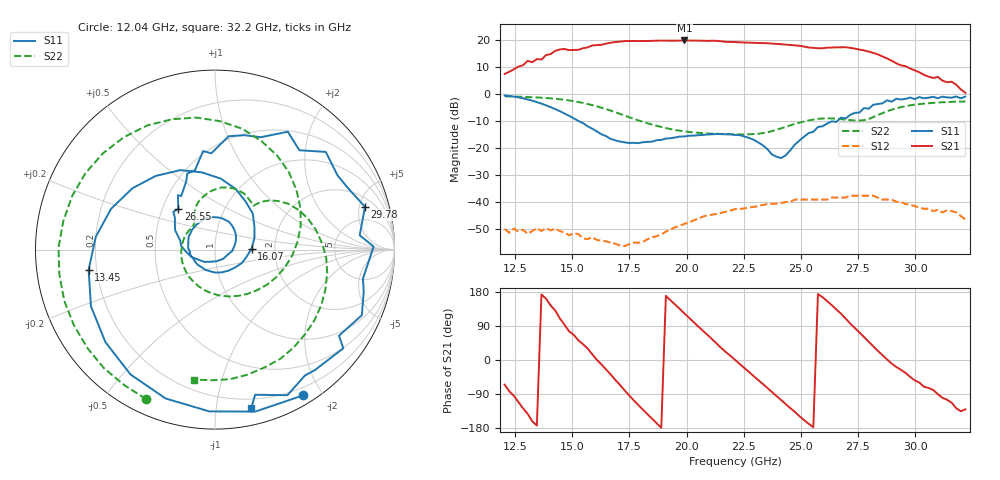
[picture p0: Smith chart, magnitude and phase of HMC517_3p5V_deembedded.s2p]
!Hittite Microwave Corporation
!20 Alpha Road
!Chelmsford, MA 01824
!Tel: 978-250-3343
!Fax: 978-250-3373
!Device: HMC517, 17-26 GHz, GaAs PHEMT MMIC Low Noise Amplifier Die
!Misc: Vdd1 = Vdd2 = Vdd3 = +3.5V, data includes two K connectors, Room
# MHZ S MA R 50
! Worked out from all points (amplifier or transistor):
!   101 points, 12.04 GHz to 32.2 GHz, reference 50 ohm
!   highest |S21| = 20.0 dB at 19.9 GHz (marker M1)
!   |S21| within 3 dB of that: 15.43 GHz to 27.34 GHz (11.91 GHz wide, 55.7 % of centre)
!   unconditionally stable (mu >= 1): start of sweep to end of sweep
!   at 15.26 GHz: K = 13.27, MAG = 20.0 dB, |S12| = -52.0 dB
!   at 22.12 GHz: K = 6.88, MAG = 19.7 dB, |S12| = -42.7 dB
!   at 32.2 GHz: K = 8.31, MAG = 11.3 dB, |S12| = -46.6 dB
!   S11 on the Smith chart (normalised r, x): 12.04 GHz: 0.11, -1.77; 13.45 GHz: 0.17, -0.08; 16.07 GHz: 1.51, +0.02; 26.55 GHz: 0.60, +0.30; 29.78 GHz: 2.92, +5.69; 32.2 GHz: 0.13, -1.25
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12035  0.949 -58.8  2.382 -65.0  0.003136 59.1  0.917 -114.8
13446.55  0.713 -170.9  4.495 -173.0  0.003223 -10.3  0.872 179.3
14454.8  0.483 113.6  6.806 109.7  0.002866 -57.0  0.806 129.0
15463.05  0.291 43.7  7.155 41.8  0.002095 -93.7  0.69 77.2
16068  0.204 1.7  8.179 0.8  0.001959 -118.9  0.596 46.2
16672.95  0.148 -43.8  9.032 -37.8  0.001745 -154.8  0.496 15.7
17479.55  0.124 -101.1  9.736 -92.8  0.001626 155.6  0.375 -24.0
18286.15  0.13 -148.0  9.738 -143.0  0.002015 94.9  0.289 -63.0
18891.1  0.141 -175.5  9.908 -178.8  0.002483 55.5  0.246 -93.1
19899.35  0.164 146.4  9.981 123.1  0.003889 8.7  0.204 -141.8
20907.6  0.178 113.2  9.801 66.5  0.005615 -35.7  0.186 176.9
22117.5  0.175 71.3  9.331 0.5  0.007332 -80.2  0.18 143.2
22924.1  0.143 35.6  9.02 -41.9  0.008051 -112.4  0.182 130.9
23730.7  0.076 -21.9  8.75 -84.2  0.009133 -144.4  0.206 124.0
24738.95  0.116 -153.5  8.082 -136.8  0.011 173.8  0.281 109.4
25545.55  0.2 165.5  7.268 -177.2  0.011 135.5  0.337 89.2
26553.8  0.305 132.0  7.427 133.3  0.012 97.4  0.352 62.6
27158.75  0.413 112.8  7.269 96.5  0.013 66.4  0.33 51.5
27965.35  0.537 92.2  6.197 48.4  0.013 24.0  0.346 47.5
28973.6  0.726 49.7  4.2 -9.3  0.011 -27.2  0.516 25.3
29780.2  0.869 15.9  3.007 -44.5  0.008859 -58.6  0.622 -4.5
32200  0.903 -77.0  1.06 -130.1  0.004704 -115.9  0.734 -99.2
